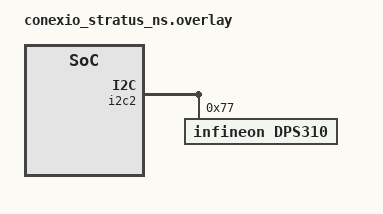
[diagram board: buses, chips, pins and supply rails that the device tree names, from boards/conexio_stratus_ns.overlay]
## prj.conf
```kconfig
CONFIG_STDOUT_CONSOLE=y
CONFIG_I2C=y
CONFIG_SENSOR=y

# Enable Zephyr application to be booted by MCUboot
CONFIG_BOOTLOADER_MCUBOOT=y
```

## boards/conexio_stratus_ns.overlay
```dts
/*
 * Copyright (c) 2024 Conexio Technologies, Inc
 *
 * SPDX-License-Identifier: Apache-2.0
 */

/* Board overlay for interfacing DPS310 sensor via the Stratus nRF9160 shield or I2C Pins 
 * SDA: 26, SDL: 27, Sensor I2C Address: 0x77
 */

&i2c2 {
	DPS310@77 {
		status = "okay";
		compatible = "infineon,dps310";
		reg = <0x77>;
	};
};
```

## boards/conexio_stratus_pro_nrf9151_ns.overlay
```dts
/*
 * Copyright (c) 2024 Conexio Technologies, Inc
 *
 * SPDX-License-Identifier: Apache-2.0
 */

/* Board overlay for interfacing DPS310 sensor via the QWIIC Connector 
 * SDA: P0.08, SDL: P0.07, Sensor I2C Address: 0x77
 */

&i2c2 {
	DPS310@77 {
		status = "okay";
		compatible = "infineon,dps310";
		reg = <0x77>;
	};
};
```

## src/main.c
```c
/*
 * Copyright (c) 2024 Conexio Technologies, Inc
 *
 * SPDX-License-Identifier: Apache-2.0
 */

#include <zephyr/kernel.h>
#include <zephyr/device.h>
#include <zephyr/drivers/sensor.h>
#include <stdlib.h>

int main(void)
{
	printk("Conexio Stratus DPS310 sensor example\n");
	const struct device *const dev = DEVICE_DT_GET_ONE(infineon_dps310);

	if (!device_is_ready(dev)) {
		printk("Device %s is not ready\n", dev->name);
		return 0;
	}

	printk("dev %p name %s\n", dev, dev->name);

	while (1) {
		struct sensor_value temp, press;

		sensor_sample_fetch(dev);
		sensor_channel_get(dev, SENSOR_CHAN_AMBIENT_TEMP, &temp);
		sensor_channel_get(dev, SENSOR_CHAN_PRESS, &press);
		
		printk("Temp: %d.%06d degC; Presssure: %d.%06d kPa\n",
		      temp.val1, abs(temp.val2), press.val1, press.val2);

		/* Fetch sensor samples every 3 seconds */
		k_sleep(K_MSEC(3000));
	}
	return 0;
}
```
